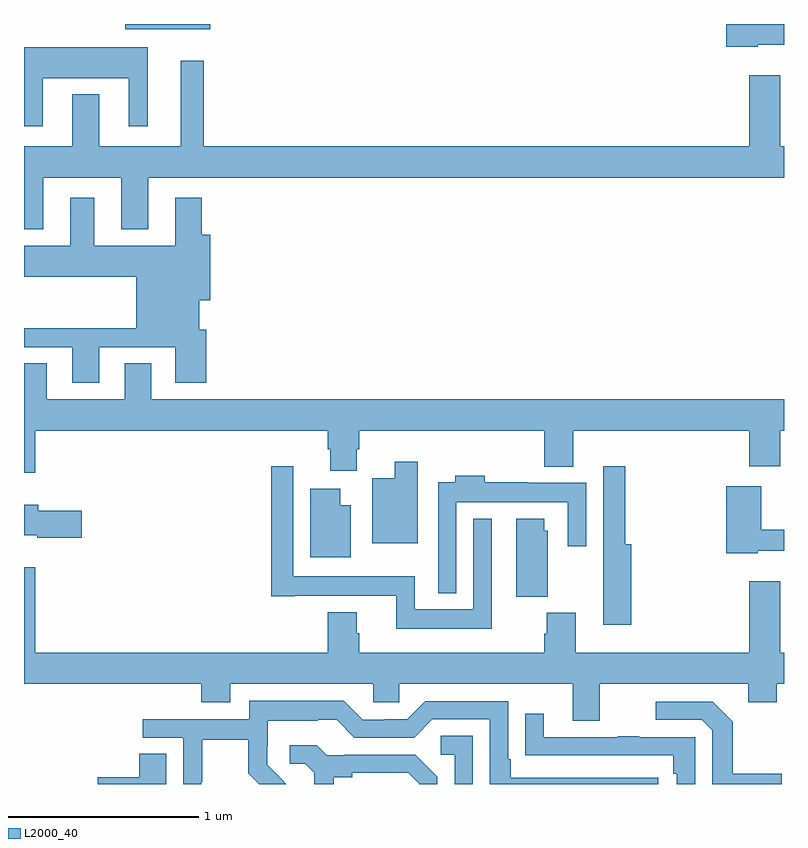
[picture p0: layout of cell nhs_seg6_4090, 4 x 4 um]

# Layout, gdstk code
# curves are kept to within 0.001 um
import gdstk
lib = gdstk.Library(unit=1e-6, precision=1e-09)
def R(c, l, rs):  # rectangles x0, y0, x1, y1
    for r in rs: c.add(gdstk.rectangle(r[:2], r[2:], *l))
def P(c, l, *ps):  # polygons
    for p in ps: c.add(gdstk.Polygon(p, *l))
L2000_40 = (2000, 40)

nhs_seg6_4090 = lib.new_cell('nhs_seg6_4090')
R(nhs_seg6_4090, L2000_40, [(353.532,925.472,353.98,925.5)])
P(nhs_seg6_4090, L2000_40, [(356.862,925.391),(357,925.391),(357,925.5),(356.696,925.5),(356.696,925.379),(356.862,925.379)],
  [(353.098,925.214),(353.552,925.214),(353.552,924.963),(353.65,924.963),(353.65,925.378),(353,925.378),(353,924.963),(353.098,924.963)],
  [(353.101,924.692),(353.513,924.692),(353.513,924.419),(353.653,924.419),(353.653,924.692),(357,924.692),(357,924.856),(356.98,924.856),(356.98,925.231),(356.816,925.231),(356.816,924.856),(353.947,924.856),(353.947,925.306),(353.825,925.306),(353.825,924.856),(353.395,924.856),(353.395,925.129),(353.255,925.129),(353.255,924.856),(353,924.856),(353,924.419),(353.101,924.419)],
  [(353.395,923.799),(353.795,923.799),(353.795,923.613),(353.96,923.613),(353.96,923.892),(353.923,923.892),(353.923,924.047),(353.98,924.047),(353.98,924.391),(353.936,924.391),(353.936,924.586),(353.795,924.586),(353.795,924.334),(353.371,924.334),(353.371,924.586),(353.243,924.586),(353.243,924.334),(353,924.334),(353,924.17),(353.591,924.17),(353.591,923.9),(353,923.9),(353,923.799),(353.255,923.799),(353.255,923.613),(353.395,923.613)],
  [(353.059,923.36),(354.599,923.36),(354.599,923.262),(354.611,923.262),(354.611,923.148),(354.751,923.148),(354.751,923.262),(354.764,923.262),(354.764,923.36),(355.739,923.36),(355.739,923.171),(355.891,923.171),(355.891,923.36),(356.816,923.36),(356.816,923.172),(356.98,923.172),(356.98,923.36),(357,923.36),(357,923.524),(353.671,923.524),(353.671,923.714),(353.531,923.714),(353.531,923.524),(353.119,923.524),(353.119,923.714),(353,923.714),(353,923.139),(353.059,923.139)],
  [(355.072,923.197),(354.95,923.197),(354.95,923.11),(354.833,923.11),(354.833,922.766),(355.072,922.766)],
  [(355.462,922.897),(355.365,922.897),(355.365,922.42),(355.056,922.42),(355.056,922.594),(354.417,922.594),(354.417,923.173),(354.301,923.173),(354.301,922.488),(354.424,922.488),(354.424,922.49),(354.959,922.49),(354.959,922.316),(355.462,922.316)],
  [(356.195,922.762),(356.165,922.762),(356.165,923.173),(356.049,923.173),(356.049,922.658),(356.048,922.658),(356.048,922.338),(356.195,922.338)],
  [(355.275,922.982),(355.863,922.982),(355.863,922.752),(355.959,922.752),(355.959,923.086),(355.655,923.086),(355.655,923.089),(355.424,923.089),(355.424,923.122),(355.271,923.122),(355.271,923.089),(355.179,923.089),(355.179,922.505),(355.275,922.505)],
  [(356.862,922.727),(357,922.727),(357,922.837),(356.879,922.837),(356.879,923.068),(356.696,923.068),(356.696,922.715),(356.862,922.715)],
  [(354.721,922.966),(354.664,922.966),(354.664,923.053),(354.506,923.053),(354.506,922.694),(354.721,922.694)],
  [(353.305,922.938),(353.074,922.938),(353.074,922.969),(353,922.969),(353,922.808),(353.07,922.808),(353.07,922.796),(353.305,922.796)],
  [(355.756,922.833),(355.738,922.833),(355.738,922.897),(355.592,922.897),(355.592,922.486),(355.756,922.486)],
  [(356.029,922.028),(356.813,922.028),(356.813,921.929),(356.961,921.929),(356.961,922.028),(357,922.028),(357,922.192),(356.98,922.192),(356.98,922.567),(356.816,922.567),(356.816,922.192),(355.904,922.192),(355.904,922.401),(355.751,922.401),(355.751,922.292),(355.739,922.292),(355.739,922.192),(354.764,922.192),(354.764,922.293),(354.751,922.293),(354.751,922.405),(354.599,922.405),(354.599,922.192),(353.059,922.192),(353.059,922.642),(353,922.642),(353,922.028),(353.933,922.028),(353.933,921.929),(354.085,921.929),(354.085,922.028),(354.837,922.028),(354.837,921.93),(354.975,921.93),(354.975,922.028),(355.889,922.028),(355.889,921.834),(356.029,921.834)],
  [(353.934,921.508),(353.937,921.508),(353.937,921.732),(354.181,921.732),(354.181,921.557),(354.238,921.5),(354.38,921.5),(354.353,921.527),(354.354,921.528),(354.28,921.602),(354.28,921.699),(354.282,921.699),(354.282,921.833),(354.545,921.833),(354.545,921.837),(354.645,921.837),(354.738,921.744),(355.053,921.744),(355.149,921.84),(355.452,921.84),(355.452,921.5),(356.338,921.5),(356.338,921.534),(355.561,921.534),(355.561,921.631),(355.548,921.631),(355.548,921.936),(355.113,921.936),(355.017,921.84),(354.899,921.84),(354.899,921.837),(354.783,921.837),(354.683,921.937),(354.186,921.937),(354.186,921.84),(353.625,921.84),(353.625,921.744),(353.838,921.744),(353.838,921.5),(353.934,921.5)],
  [(356.987,921.555),(356.731,921.555),(356.731,921.827),(356.625,921.933),(356.325,921.933),(356.325,921.837),(356.568,921.837),(356.622,921.783),(356.622,921.5),(356.987,921.5)],
  [(356.532,921.747),(356.237,921.747),(356.237,921.752),(356.125,921.752),(356.125,921.747),(355.735,921.747),(355.735,921.871),(355.639,921.871),(355.639,921.652),(355.741,921.652),(355.741,921.651),(356.416,921.651),(356.416,921.554),(356.436,921.554),(356.436,921.5),(356.532,921.5)],
  [(355.362,921.755),(355.194,921.755),(355.194,921.654),(355.266,921.654),(355.266,921.5),(355.362,921.5)],
  [(354.631,921.536),(354.727,921.536),(354.727,921.558),(355.022,921.558),(355.079,921.5),(355.176,921.5),(355.176,921.538),(355.06,921.654),(354.688,921.654),(354.688,921.651),(354.594,921.651),(354.542,921.703),(354.399,921.703),(354.399,921.606),(354.48,921.606),(354.527,921.559),(354.527,921.5),(354.631,921.5)],
  [(353.749,921.659),(353.606,921.659),(353.606,921.536),(353.388,921.536),(353.388,921.5),(353.749,921.5)])

lib.write_gds('nhs_seg6_4090.gds')
